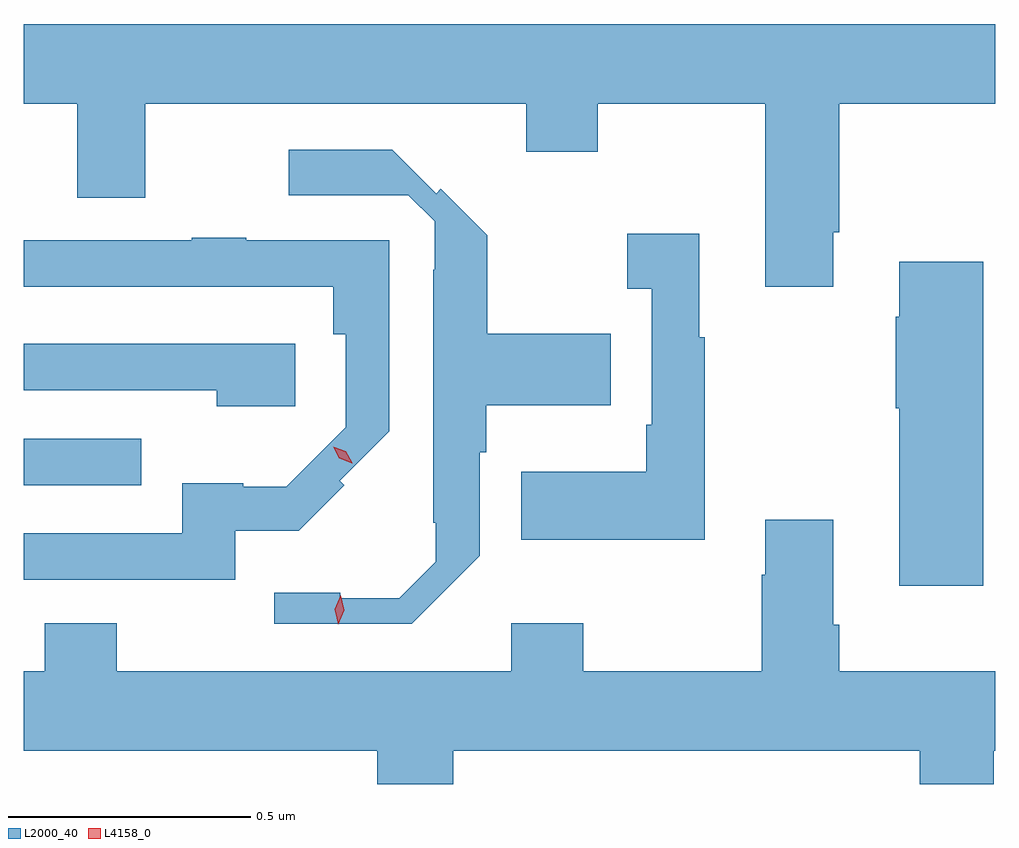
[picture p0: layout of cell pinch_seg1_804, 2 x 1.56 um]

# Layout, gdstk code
import gdstk
lib = gdstk.Library(unit=1e-6, precision=1e-09)
def R(c, l, rs):  # rectangles x0, y0, x1, y1
    for r in rs: c.add(gdstk.rectangle(r[:2], r[2:], *l))
def P(c, l, *ps):  # polygons
    for p in ps: c.add(gdstk.Polygon(p, *l))
L2000_40 = (2000, 40)
L4158_0 = (4158, 0)

pinch_seg1_804 = lib.new_cell('pinch_seg1_804')
R(pinch_seg1_804, L2000_40, [(612.855,553.611,613.097,553.707)])
P(pinch_seg1_804, L2000_40, [(614.521,554.131),(614.534,554.131),(614.534,554.396),(614.855,554.396),(614.855,554.56),(612.855,554.56),(612.855,554.396),(612.965,554.396),(612.965,554.202),(613.105,554.202),(613.105,554.396),(613.889,554.396),(613.889,554.297),(614.037,554.297),(614.037,554.396),(614.381,554.396),(614.381,554.019),(614.521,554.019)],
  [(613.794,553.466),(613.794,553.679),(613.807,553.679),(613.807,553.775),(614.063,553.775),(614.063,553.923),(613.809,553.923),(613.809,554.125),(613.714,554.221),(613.704,554.211),(613.614,554.301),(613.401,554.301),(613.401,554.208),(613.647,554.208),(613.701,554.154),(613.701,554.054),(613.698,554.054),(613.698,553.534),(613.703,553.534),(613.703,553.453),(613.628,553.378),(613.507,553.378),(613.507,553.39),(613.371,553.39),(613.371,553.326),(613.654,553.326)],
  [(614.257,553.915),(614.245,553.915),(614.245,554.128),(614.097,554.128),(614.097,554.015),(614.148,554.015),(614.148,553.735),(614.136,553.735),(614.136,553.639),(613.879,553.639),(613.879,553.499),(614.257,553.499)],
  [(613.291,553.517),(613.421,553.517),(613.515,553.611),(613.506,553.62),(613.608,553.722),(613.608,554.115),(613.313,554.115),(613.313,554.12),(613.201,554.12),(613.201,554.115),(612.855,554.115),(612.855,554.019),(613.492,554.019),(613.492,553.922),(613.518,553.922),(613.518,553.73),(613.396,553.608),(613.307,553.608),(613.307,553.615),(613.182,553.615),(613.182,553.512),(612.855,553.512),(612.855,553.416),(613.291,553.416)],
  [(614.83,554.071),(614.657,554.071),(614.657,553.958),(614.65,553.958),(614.65,553.769),(614.657,553.769),(614.657,553.404),(614.83,553.404)],
  [(613.414,553.902),(612.855,553.902),(612.855,553.806),(613.253,553.806),(613.253,553.773),(613.414,553.773)],
  [(613.739,553.064),(614.699,553.064),(614.699,552.996),(614.852,552.996),(614.852,553.064),(614.855,553.064),(614.855,553.228),(614.534,553.228),(614.534,553.324),(614.521,553.324),(614.521,553.54),(614.381,553.54),(614.381,553.427),(614.374,553.427),(614.374,553.228),(614.007,553.228),(614.007,553.327),(613.859,553.327),(613.859,553.228),(613.047,553.228),(613.047,553.327),(612.899,553.327),(612.899,553.228),(612.855,553.228),(612.855,553.064),(613.583,553.064),(613.583,552.996),(613.739,552.996)])
P(pinch_seg1_804, L4158_0, [(613.503,553.325),(613.503,553.325),(613.495,553.356),(613.508,553.384),(613.508,553.384),(613.508,553.384),(613.515,553.354),(613.503,553.325)],
  [(613.53,553.656),(613.505,553.666),(613.492,553.69),(613.492,553.69),(613.492,553.69),(613.518,553.681),(613.531,553.657),(613.531,553.656)])

lib.write_gds('pinch_seg1_804.gds')
